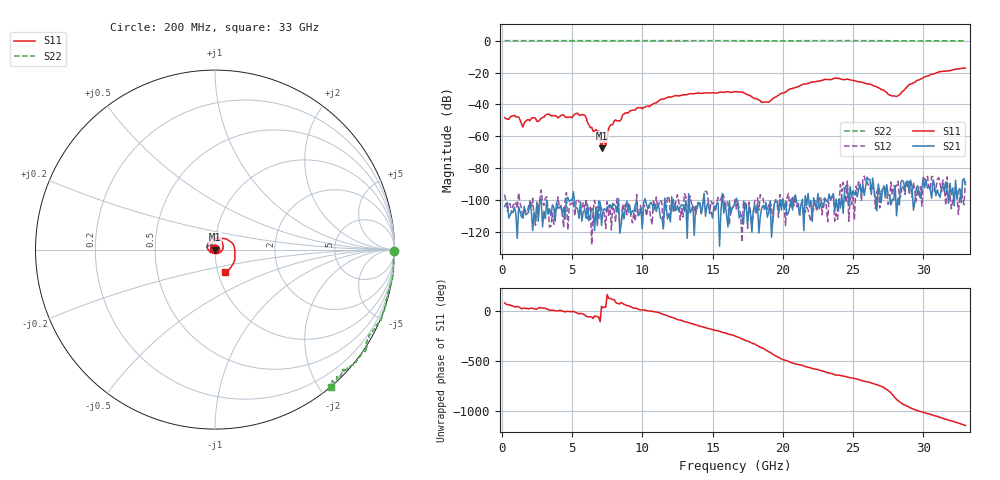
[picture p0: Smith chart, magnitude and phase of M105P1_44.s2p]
# GHZ S RI R 50
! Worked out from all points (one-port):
!   329 points, 200 MHz to 33 GHz, reference 50 ohm
!   lowest |S11| = -67.6 dB at 7.1 GHz (marker M1), VSWR 1.00, Z = 50 + j0.0289 ohm
!   |S11| at or under -10 dB: start of sweep to end of sweep
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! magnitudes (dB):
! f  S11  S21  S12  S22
! 200 MHz  -48.2  -103.9  -96.5  0.0
! 1.2 GHz  -47.9  -104.1  -95.5  0.0
! 1.5 GHz  -54.1  -111.0  -111.6  0.0
! 1.8 GHz  -49.7  -108.5  -107.7  0.0
! 3.2 GHz  -46.2  -99.9  -97.8  0.0
! 5.7 GHz  -46.3  -113.2  -104.4  0.0
! 6.5 GHz  -56.8  -105.9  -106.1  0.0
! 6.9 GHz  -56.7  -100.5  -111.5  0.0
! 7.1 GHz  -67.6  -115.9  -106.0  0.0
! 7.2 GHz  -63.1  -107.1  -105.9  0.0
! 7.4 GHz  -65.9  -106.4  -117.7  0.0
! 7.6 GHz  -55.0  -103.6  -109.5  0.0
! 8 GHz  -50.4  -102.6  -106.4  0.0
! 11.2 GHz  -37.5  -105.3  -102.0  -0.1
! 16.6 GHz  -32.0  -101.8  -99.7  0.0
! 19 GHz  -38.6  -107.7  -102.6  -0.1
! 22.1 GHz  -26.0  -113.2  -106.3  -0.1
! 24.6 GHz  -24.2  -91.5  -88.0  0.0
! 27.6 GHz  -34.1  -97.1  -100.6  -0.1
! 28.1 GHz  -35.0  -109.8  -91.0  -0.1
! 30.5 GHz  -21.4  -93.6  -93.6  -0.1
! 33 GHz  -17.2  -90.2  -88.2  0.0
